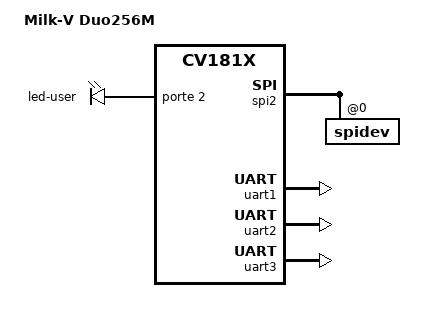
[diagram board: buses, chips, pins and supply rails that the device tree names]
/dts-v1/;
#include "soph_base_arm.dtsi"
#include "soph_asic_qfn.dtsi"
#include "soph_asic_sd.dtsi"
#include "soph_default_memmap.dtsi"

/ {
	model = "Milk-V Duo256M";

	aliases {
		mmc0 = &sd;
		mmc1 = &wifisd;
	};

	leds {
		compatible = "gpio-leds";

		led-user {
			gpios = <&porte 2 GPIO_ACTIVE_HIGH>;
			linux,default-trigger = "activity";
		};
	};
};

&mipi_rx {
	snsr-reset = <&portc 17 GPIO_ACTIVE_LOW>, <&portc 17 GPIO_ACTIVE_LOW>, <&portc 17 GPIO_ACTIVE_LOW>;
};

&i2c0 {
	status = "disabled";
};

&i2c4 {
	status = "disabled";
};

&spi2 {
	status = "okay";

	spidev@0 {
		status = "okay";
	};
};

&dac {
	mute-gpio-r = <&porte 1 GPIO_ACTIVE_LOW>;
};

&soc_thermal_0 {
	cooling-maps {
		map0 {
			trip = <&soc_thermal_trip_0>;
			cooling-device = <&cooling THERMAL_NO_LIMIT 1>;
		};
		map1 {
			trip = <&soc_thermal_trip_1>;
			cooling-device = <&cooling THERMAL_NO_LIMIT THERMAL_NO_LIMIT>;
		};
	};
};

&uart1 {
	status = "okay";
};

&uart2 {
	status = "okay";
};

&uart3 {
	status = "okay";
};

/* gpio porte 2 is connected to led */
&vo {
	reset-gpio = <&porte 3 GPIO_ACTIVE_LOW>;
};
